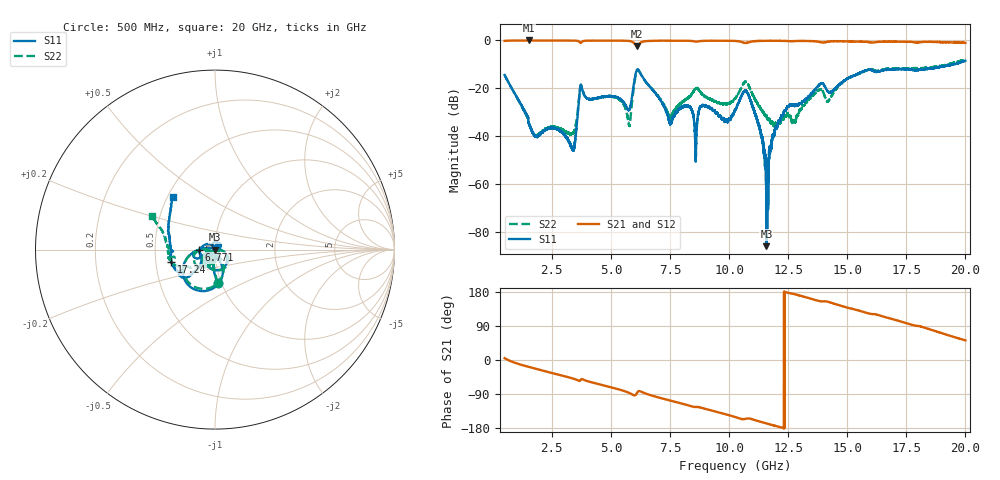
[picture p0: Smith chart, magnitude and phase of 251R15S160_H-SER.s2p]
!{251R15S160}
!Johanson Technology Inc.
!www.johansontechnology.com
!Test Board Conditions:
!Substrate Type  RO4350B
!Substrate Thickness  20 mil
!Substrate Dk  3.66
!TL Type: GCPW
!TL Trace Width  34 mil
!TL Gap  10 mil
!Electrode orientation  Horizontal
!DUT TOPOLOGY	SERIES
!Mounting Pad LxW  26x52 mil
! Created Thu Mar 12 16:53:11 2020
# mhz S ma R 50
! 2 Port Network Data from SP1.SP block
! freq  magS11  angS11  magS21  angS21  magS12  angS12  magS22  angS22
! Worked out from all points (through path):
!   19501 points, 500 MHz to 20 GHz, reference 50 ohm
!   highest |S21| = -0.01 dB at 1.529 GHz (marker M1); lowest = -2.3 dB at 6.098 GHz (marker M2)
!   group delay of S21, straight-line fit = 42.6 ps
!   lowest |S11| = -86.0 dB at 11.58 GHz (marker M3), VSWR 1.00, Z = 50 + j0.00232 ohm
!   |S11| at or under -10 dB: start of sweep to 19.5 GHz; 19.50117 GHz to 19.50645 GHz (5.288 MHz wide, 0.0271 % of centre); 19.51438 GHz to 19.51767 GHz (3.282 MHz wide, 0.0168 % of centre)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
!   |S22| runs from -39.9 to -8.0 dB; largest |S21 - S12| = 0.022
!   S11 on the Smith chart (normalised r, x): 500 MHz: 0.96, -0.38; 6.771 GHz: 0.83, -0.00; 17.24 GHz: 0.60, -0.09; 20 GHz: 0.53, +0.37
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500  0.1892 -85.4  0.9795 4.8  0.9806 4.8  0.1886 -84.6
1529  0.01814 -132.4  0.9994 -18.5  0.9979 -18.4  0.01817 -84.0
3383  0.005562 86.7  0.9941 -48.7  0.9938 -48.7  0.01161 -27.8
3750  0.1126 -97.5  0.9124 -50.3  0.9119 -50.3  0.1142 -91.7
5328  0.06232 -152.8  0.9914 -77.6  0.99 -77.5  0.05981 -172.5
5759  0.03527 -111.0  0.9754 -86.5  0.9745 -86.5  0.01737 -137.5
6098  0.242 -107.2  0.769 -87.5  0.7706 -87.4  0.2269 -105.1
6771  0.09181 -179.4  0.9823 -94.6  0.9825 -94.6  0.09275 -177.1
7000  0.06703 174.2  0.9856 -98.7  0.987 -98.6  0.06801 -178.6
7524  0.01857 87.2  0.9901 -107.3  0.9903 -107.3  0.02472 -111.7
8284  0.04162 42.1  0.9827 -119.9  0.9822 -119.9  0.06387 -104.4
8582  0.004112 24.4  0.9469 -124.0  0.9463 -124.0  0.09982 -116.2
8850  0.0428 89.0  0.9759 -126.4  0.9757 -126.4  0.07584 -140.1
10250  0.0348 -59.7  0.9756 -150.3  0.9762 -150.3  0.06034 -109.8
10796  0.07663 172.5  0.9034 -154.0  0.9052 -154.1  0.1229 -163.7
11339  0.01138 100.8  0.9784 -163.2  0.9798 -163.2  0.03769 -175.2
11579  4.995e-05 152.4  0.9821 -167.4  0.9837 -167.3  0.0262 -161.2
12276  0.0275 -143.1  0.9779 -179.0  0.9795 -179.0  0.02246 -86.5
13500  0.07859 -150.3  0.9678 161.0  0.9693 161.1  0.0683 -89.1
16750  0.2479 -153.0  0.9456 110.8  0.9394 110.3  0.2572 -167.2
17239  0.2532 -164.1  0.9395 102.3  0.9398 102.1  0.2601 -172.0
20000  0.3764 128.3  0.8893 51.7  0.8881 51.9  0.3956 151.8
